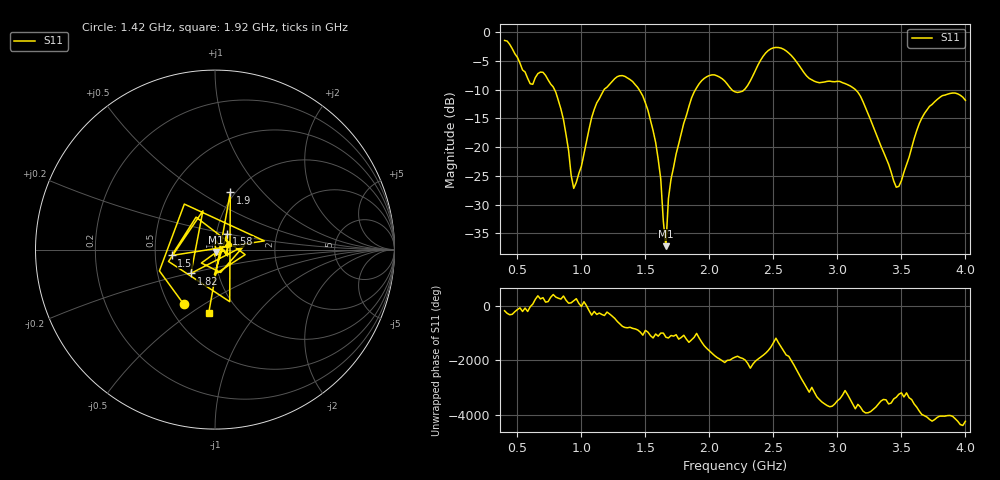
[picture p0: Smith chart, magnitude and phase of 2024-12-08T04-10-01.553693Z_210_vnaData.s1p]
!Created with skrf (http://scikit-rf.org).
# Hz S RI R 50.0
!freq ReS11 ImS11
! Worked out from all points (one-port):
!   181 points, 400 MHz to 4 GHz, reference 50 ohm
!   lowest |S11| = -37.3 dB at 1.66 GHz (marker M1), VSWR 1.03, Z = 50.6 - j1.26 ohm
!   |S11| at or under -10 dB: 790.8 MHz to 1.177 GHz (385.9 MHz wide, 39.2 % of centre); 1.452 GHz to 1.891 GHz (439 MHz wide, 26.3 % of centre); 3.143 GHz to end of sweep (the widest 3 of 4)
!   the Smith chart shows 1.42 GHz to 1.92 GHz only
!   S11 on the Smith chart (normalised r, x): 1.42 GHz: 0.60, -0.42; 1.5 GHz: 0.61, -0.04; 1.58 GHz: 1.12, +0.20; 1.82 GHz: 0.74, -0.20; 1.9 GHz: 0.95, +0.68; 1.92 GHz: 0.73, -0.59
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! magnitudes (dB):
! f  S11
! 400 MHz  -1.4
! 600 MHz  -8.9
! 720 MHz  -7.5
! 860 MHz  -15.2
! 940 MHz  -27.2
! 1.12 GHz  -12.3
! 1.3 GHz  -7.5
! 1.42 GHz  -9.1
! 1.5 GHz  -12.3
! 1.58 GHz  -19.2
! 1.62 GHz  -25.6
! 1.66 GHz  -37.3
! 1.68 GHz  -28.9
! 1.76 GHz  -19.4
! 1.82 GHz  -14.5
! 1.9 GHz  -9.6
! 1.92 GHz  -8.9
! 2.04 GHz  -7.4
! 2.2 GHz  -10.3
! 2.48 GHz  -2.9
! 2.66 GHz  -4.5
! 2.82 GHz  -8.5
! 3.1 GHz  -9.3
! 3.2 GHz  -12.1
! 3.46 GHz  -27.0
! 3.56 GHz  -21.8
! 3.72 GHz  -12.9
! 4 GHz  -11.8
